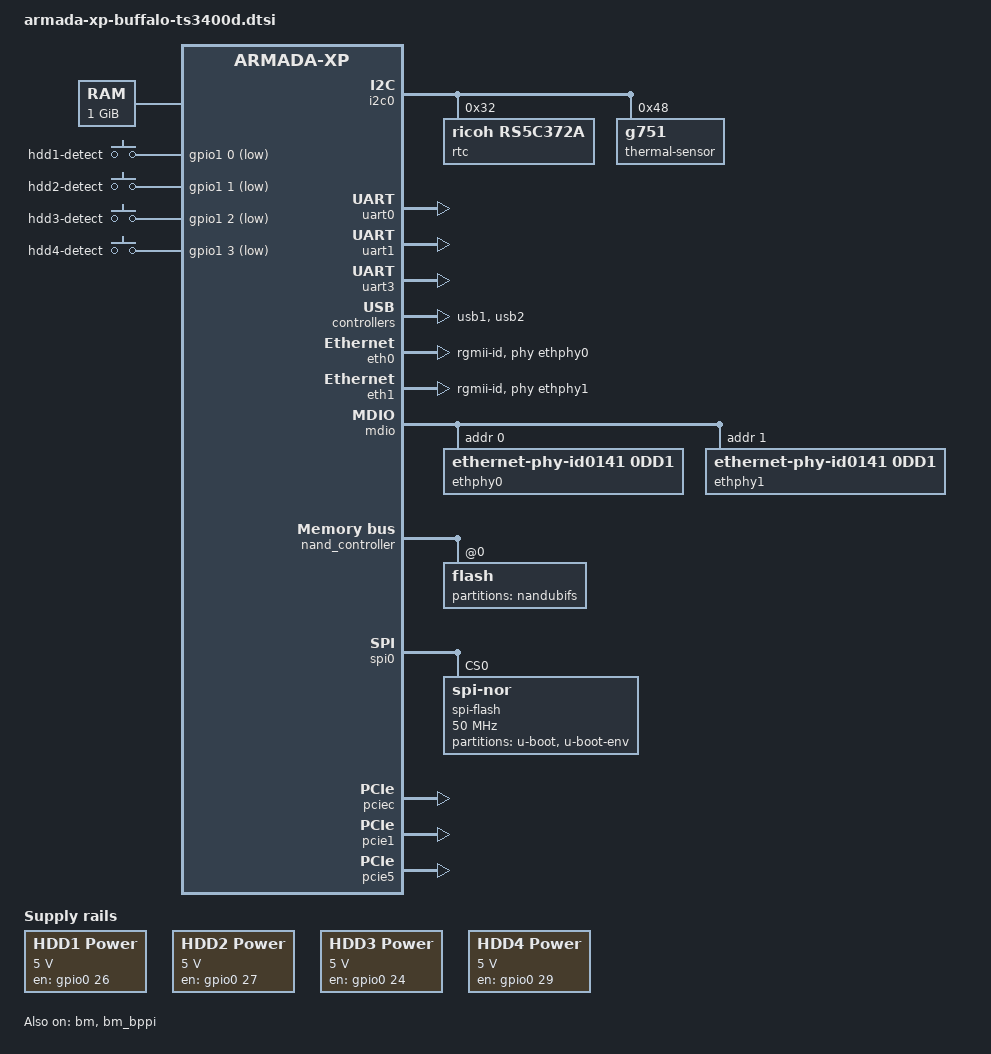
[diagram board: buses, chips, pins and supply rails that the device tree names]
// SPDX-License-Identifier: GPL-2.0-or-later OR MIT
/dts-v1/;

#include <dt-bindings/gpio/gpio.h>
#include <dt-bindings/input/input.h>
#include <dt-bindings/leds/common.h>
#include <dt-bindings/thermal/thermal.h>
#include "armada-xp-mv78230.dtsi"

/ {
	chosen {
		stdout-path = "serial0:115200n8";
	};

	memory {
		device_type = "memory";
		reg = <0 0x00000000 0 0x40000000>; /* 1 GB */
	};

	soc {
		ranges = <MBUS_ID(0xf0, 0x01) 0 0 0xd0000000 0x100000
			  MBUS_ID(0x01, 0x1d) 0 0 0xfff00000 0x100000
			  MBUS_ID(0x09, 0x09) 0 0 0xf1100000 0x10000
			  MBUS_ID(0x09, 0x05) 0 0 0xf1110000 0x10000
			  MBUS_ID(0x0c, 0x04) 0 0 0xd1200000 0x100000>;
	};

	keys {
		pinctrl-0 = <&pmx_hdd_detect_pins>;
		pinctrl-names = "default";
		compatible = "gpio-keys";

		key-hdd1 {
			label = "hdd1-detect";
			gpios = <&gpio1 0 GPIO_ACTIVE_LOW>;
			linux,code = <BTN_1>;
		};

		key-hdd2 {
			label = "hdd2-detect";
			gpios = <&gpio1 1 GPIO_ACTIVE_LOW>;
			linux,code = <BTN_2>;
		};

		key-hdd3 {
			label = "hdd3-detect";
			gpios = <&gpio1 2 GPIO_ACTIVE_LOW>;
			linux,code = <BTN_3>;
		};

		key-hdd4 {
			label = "hdd4-detect";
			gpios = <&gpio1 3 GPIO_ACTIVE_LOW>;
			linux,code = <BTN_4>;
		};
	};

	regulators {
		pinctrl-0 = <&pmx_hdd_power_pins>;
		pinctrl-names = "default";
		compatible = "simple-bus";
		#address-cells = <1>;
		#size-cells = <0>;

		hdd1-regulator@1 {
			compatible = "regulator-fixed";
			reg = <1>;
			regulator-name = "HDD1 Power";
			regulator-min-microvolt = <5000000>;
			regulator-max-microvolt = <5000000>;
			enable-active-high;
			regulator-always-on;
			regulator-boot-on;
			gpio = <&gpio0 26 GPIO_ACTIVE_HIGH>;
		};

		hdd2-regulator@2 {
			compatible = "regulator-fixed";
			reg = <2>;
			regulator-name = "HDD2 Power";
			regulator-min-microvolt = <5000000>;
			regulator-max-microvolt = <5000000>;
			enable-active-high;
			regulator-always-on;
			regulator-boot-on;
			gpio = <&gpio0 27 GPIO_ACTIVE_HIGH>;
		};

		hdd3-regulator@3 {
			compatible = "regulator-fixed";
			reg = <3>;
			regulator-name = "HDD3 Power";
			regulator-min-microvolt = <5000000>;
			regulator-max-microvolt = <5000000>;
			enable-active-high;
			regulator-always-on;
			regulator-boot-on;
			gpio = <&gpio0 24 GPIO_ACTIVE_HIGH>;
		};

		hdd4-regulator@4 {
			compatible = "regulator-fixed";
			reg = <4>;
			regulator-name = "HDD4 Power";
			regulator-min-microvolt = <5000000>;
			regulator-max-microvolt = <5000000>;
			enable-active-high;
			regulator-always-on;
			regulator-boot-on;
			gpio = <&gpio0 29 GPIO_ACTIVE_HIGH>;
		};
	};
};

&rtc {
	status = "disabled";
};

&i2c0 {
	status = "okay";

	rtc@32 {
		compatible = "ricoh,rs5c372a";
		reg = <0x32>;
	};

	thermal-sensor@48 {
		compatible = "g751";
		reg = <0x48>;
		#thermal-sensor-cells = <0>;
	};
};

/* Front D-Sub 9pin */
&uart0 {
	status = "okay";
};

/* Rear D-Sub 9pin */
&uart1 {
	status = "okay";
};

/* Micro Controller ("MICON") */
&uart3 {
	status = "okay";
};

&pinctrl {
	pinctrl-0 = <&pmx_mcu_irq_pin>;
	pinctrl-names = "default";

	pmx_hdd_power_pins: hdd-power-pins {
		marvell,pins = "mpp26",	/* hdd1 */
			       "mpp27",	/* hdd2 */
			       "mpp24",	/* hdd3 */
			       "mpp29";	/* hdd4 */
		marvell,function = "gpio";
	};

	pmx_hdd_detect_pins: hdd-detect-pins {
		marvell,pins = "mpp32",	/* hdd1 */
			       "mpp33",	/* hdd2 */
			       "mpp34",	/* hdd3 */
			       "mpp35";	/* hdd4 */
		marvell,function = "gpio";
	};

	pmx_mcu_irq_pin: mcu_irq_pin {
		marvell,pins = "mpp40";
		marvell,function = "gpio";
	};
};

&usb1 {
	status = "okay";
};

&usb2 {
	status = "okay";
};

&bm {
	status = "okay";
};

&bm_bppi {
	status = "okay";
};

&eth0 {
	pinctrl-0 = <&ge0_rgmii_pins>;
	pinctrl-names = "default";
	status = "okay";

	phy-handle = <&ethphy0>;
	phy-connection-type = "rgmii-id";
	buffer-manager = <&bm>;
	bm,pool-long = <0>;
	bm,pool-short = <1>;
};

&eth1 {
	pinctrl-0 = <&ge1_rgmii_pins>;
	pinctrl-names = "default";
	status = "okay";

	phy-handle = <&ethphy1>;
	phy-connection-type = "rgmii-id";
	buffer-manager = <&bm>;
	bm,pool-long = <2>;
	bm,pool-short = <3>;
};

&mdio {
	ethphy0: ethernet-phy@0 {
		compatible = "ethernet-phy-id0141,0dd1",
			     "ethernet-phy-ieee802.3-c22";
		reg = <0>;
		/*
		 * SPEED 1000M (Green): LED[0]
		 * LINK/ACT    (Amber): LED[1]
		 */
		marvell,reg-init = <3 16 0 0x17>;
	};

	ethphy1: ethernet-phy@1 {
		compatible = "ethernet-phy-id0141,0dd1",
			     "ethernet-phy-ieee802.3-c22";
		reg = <1>;
		/*
		 * SPEED 1000M (Green): LED[0]
		 * LINK/ACT    (Amber): LED[1]
		 */
		marvell,reg-init = <3 16 0 0x17>;
	};
};

&nand_controller {
	status = "okay";

	flash@0 {
		reg = <0>;
		nand-rb = <0>;
		marvell,nand-keep-config;
		nand-on-flash-bbt;
		nand-ecc-strength = <4>;
		nand-ecc-step-size = <512>;

		partitions {
			compatible = "fixed-partitions";
			#address-cells = <1>;
			#size-cells = <1>;

			partition@0 {
				label = "nandubifs";
				reg = <0x0 0x20000000>;
				read-only;
			};
		};
	};
};

&spi0 {
	status = "okay";

	spi-flash@0 {
		compatible = "jedec,spi-nor";
		reg = <0>;
		spi-max-frequency = <50000000>;

		partitions {
			compatible = "fixed-partitions";
			#address-cells = <1>;
			#size-cells = <1>;

			partition@0 {
				reg = <0x00000 0xf0000>;
				label = "u-boot";
				read-only;
			};

			partition@f0000 {
				reg = <0xf0000 0x10000>;
				label = "u-boot-env";
				read-only;

				/* 0xfc00 - 0xffff: board info */
			};
		};
	};
};

&pciec {
	status = "okay";
};

&pcie1 {
	status = "okay";

	/* SATA Controller (88SX7042) */
};

&pcie5 {
	status = "okay";

	/* USB 3.0 Controller (uPD720202) */
};
